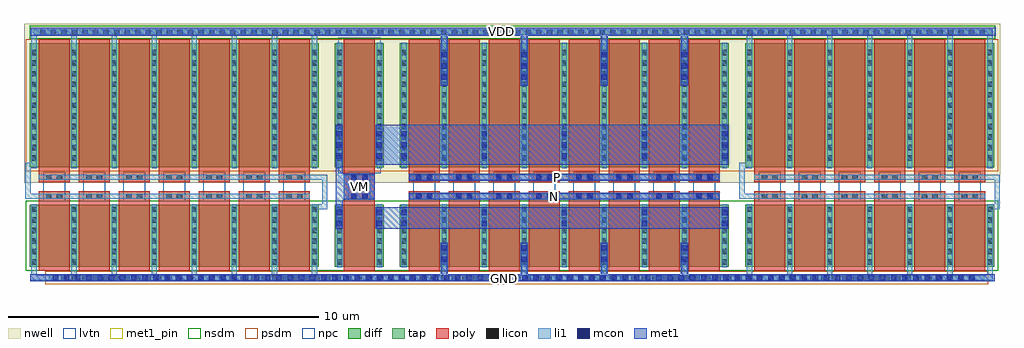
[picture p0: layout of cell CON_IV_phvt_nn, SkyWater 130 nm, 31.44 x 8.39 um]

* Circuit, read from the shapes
.subckt CON_IV_phvt_nn GND N P VDD VM
XM1 GND VDD GND GND sky130_fd_pr__nfet_01v8 w=2 l=1 m=13
XM2 sky130_fd_pr__nfet_01v8_LBGXA3_5/D0 VM VM GND sky130_fd_pr__nfet_01v8 w=2 l=1
XM3 GND N sky130_fd_pr__nfet_01v8_LBGXA3_5/D0 GND sky130_fd_pr__nfet_01v8 w=2 l=1 m=8
XM4 VDD GND VDD VDD sky130_fd_pr__pfet_01v8 w=4 l=1 m=13
XM5 sky130_fd_pr__pfet_01v8_BWHXLN_6/D0 VM VM VDD sky130_fd_pr__pfet_01v8_lvt w=4 l=1
XM6 VDD P sky130_fd_pr__pfet_01v8_BWHXLN_6/D0 VDD sky130_fd_pr__pfet_01v8 w=4 l=1 m=8
.ends

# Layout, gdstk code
import gdstk
lib = gdstk.Library(unit=1e-6, precision=1e-09)
def R(c, l, rs):  # rectangles x0, y0, x1, y1
    for r in rs: c.add(gdstk.rectangle(r[:2], r[2:], *l))
def A(c, l, x, y, w, h, nx, ny, dx, dy):  # array of equal rectangles
    R(c, l, [(x+i*dx, y+j*dy, x+i*dx+w, y+j*dy+h) for i in range(nx) for j in range(ny)])
nwell = (64, 20)
diff = (65, 20)
tap = (65, 44)
poly = (66, 20)
licon = (66, 44)
li1 = (67, 20)
mcon = (67, 44)
met1_pin = (68, 16)
met1 = (68, 20)
nsdm = (93, 44)
psdm = (94, 20)
npc = (95, 20)
lvtn = (125, 44)

sky130_fd_pr__nfet_01v8_ = lib.new_cell('sky130_fd_pr__nfet_01v8_JF9FY3')
R(sky130_fd_pr__nfet_01v8_, diff, [(-4.015,-1.155,4.015,0.845)])
A(sky130_fd_pr__nfet_01v8_, poly, -3.725, -1.285, 1, 2.57, 6, 1, 1.29, 0)
A(sky130_fd_pr__nfet_01v8_, licon, -3.955, -1.09, 0.17, 0.17, 7, 6, 1.29, 0.34)
R(sky130_fd_pr__nfet_01v8_, licon, [(-3.48,1.035,-3.31,1.205), (-3.14,1.035,-2.97,1.205), (-2.19,1.035,-2.02,1.205), (-1.85,1.035,-1.68,1.205), (-0.9,1.035,-0.73,1.205), (-0.56,1.035,-0.39,1.205), (0.39,1.035,0.56,1.205), (0.73,1.035,0.9,1.205), (1.68,1.035,1.85,1.205), (2.02,1.035,2.19,1.205), (2.97,1.035,3.14,1.205), (3.31,1.035,3.48,1.205)])
A(sky130_fd_pr__nfet_01v8_, li1, -3.955, -1.175, 0.17, 2.04, 7, 1, 1.29, 0)
A(sky130_fd_pr__nfet_01v8_, li1, -3.725, 1.035, 1, 0.17, 6, 1, 1.29, 0)
R(sky130_fd_pr__nfet_01v8_, nsdm, [(-4.14,-1.28,4.14,0.97)])
A(sky130_fd_pr__nfet_01v8_, npc, -3.58, 0.935, 0.71, 0.37, 6, 1, 1.29, 0)
sky130_fd_pr__nfet_01v8_.add(gdstk.Label('D0', (-3.87,-0.155), layer=67, texttype=5))
sky130_fd_pr__nfet_01v8_.add(gdstk.Label('G0', (-3.225,1.12), layer=67, texttype=5))
sky130_fd_pr__nfet_01v8_.add(gdstk.Label('S1', (-2.58,-0.155), layer=67, texttype=5))
sky130_fd_pr__nfet_01v8_.add(gdstk.Label('G1', (-1.935,1.12), layer=67, texttype=5))
sky130_fd_pr__nfet_01v8_.add(gdstk.Label('D2', (-1.29,-0.155), layer=67, texttype=5))
sky130_fd_pr__nfet_01v8_.add(gdstk.Label('G2', (-0.645,1.12), layer=67, texttype=5))
sky130_fd_pr__nfet_01v8_.add(gdstk.Label('S3', (0,-0.155), layer=67, texttype=5))
sky130_fd_pr__nfet_01v8_.add(gdstk.Label('G3', (0.645,1.12), layer=67, texttype=5))
sky130_fd_pr__nfet_01v8_.add(gdstk.Label('D4', (1.29,-0.155), layer=67, texttype=5))
sky130_fd_pr__nfet_01v8_.add(gdstk.Label('G4', (1.935,1.12), layer=67, texttype=5))
sky130_fd_pr__nfet_01v8_.add(gdstk.Label('S5', (2.58,-0.155), layer=67, texttype=5))
sky130_fd_pr__nfet_01v8_.add(gdstk.Label('G5', (3.225,1.12), layer=67, texttype=5))

sky130_fd_pr__pfet_01v8_ = lib.new_cell('sky130_fd_pr__pfet_01v8_UJ3J55')
R(sky130_fd_pr__pfet_01v8_, nwell, [(-4.84,-2.32,4.84,2.49)])
R(sky130_fd_pr__pfet_01v8_, diff, [(-4.66,-1.82,4.66,2.18)])
A(sky130_fd_pr__pfet_01v8_, poly, -4.37, -2.305, 1, 4.615, 7, 1, 1.29, 0)
A(sky130_fd_pr__pfet_01v8_, licon, -4.6, -1.605, 0.17, 0.17, 8, 11, 1.29, 0.34)
R(sky130_fd_pr__pfet_01v8_, licon, [(-4.125,-2.225,-3.955,-2.055), (-3.785,-2.225,-3.615,-2.055), (-2.835,-2.225,-2.665,-2.055), (-2.495,-2.225,-2.325,-2.055), (-1.545,-2.225,-1.375,-2.055), (-1.205,-2.225,-1.035,-2.055), (-0.255,-2.225,-0.085,-2.055), (0.085,-2.225,0.255,-2.055), (1.035,-2.225,1.205,-2.055), (1.375,-2.225,1.545,-2.055), (2.325,-2.225,2.495,-2.055), (2.665,-2.225,2.835,-2.055), (3.615,-2.225,3.785,-2.055), (3.955,-2.225,4.125,-2.055)])
A(sky130_fd_pr__pfet_01v8_, li1, -4.37, -2.225, 1, 0.17, 7, 1, 1.29, 0)
A(sky130_fd_pr__pfet_01v8_, li1, -4.6, -1.84, 0.17, 4.04, 8, 1, 1.29, 0)
R(sky130_fd_pr__pfet_01v8_, psdm, [(-4.785,-1.945,4.785,2.305)])
A(sky130_fd_pr__pfet_01v8_, npc, -4.225, -2.325, 0.71, 0.37, 7, 1, 1.29, 0)
sky130_fd_pr__pfet_01v8_.add(gdstk.Label('D0', (-4.515,0.18), layer=67, texttype=5))
sky130_fd_pr__pfet_01v8_.add(gdstk.Label('G0', (-3.87,-2.14), layer=67, texttype=5))
sky130_fd_pr__pfet_01v8_.add(gdstk.Label('S1', (-3.225,0.18), layer=67, texttype=5))
sky130_fd_pr__pfet_01v8_.add(gdstk.Label('G1', (-2.58,-2.14), layer=67, texttype=5))
sky130_fd_pr__pfet_01v8_.add(gdstk.Label('D2', (-1.935,0.18), layer=67, texttype=5))
sky130_fd_pr__pfet_01v8_.add(gdstk.Label('G2', (-1.29,-2.14), layer=67, texttype=5))
sky130_fd_pr__pfet_01v8_.add(gdstk.Label('S3', (-0.645,0.18), layer=67, texttype=5))
sky130_fd_pr__pfet_01v8_.add(gdstk.Label('G3', (0,-2.14), layer=67, texttype=5))
sky130_fd_pr__pfet_01v8_.add(gdstk.Label('D4', (0.645,0.18), layer=67, texttype=5))
sky130_fd_pr__pfet_01v8_.add(gdstk.Label('G4', (1.29,-2.14), layer=67, texttype=5))
sky130_fd_pr__pfet_01v8_.add(gdstk.Label('S5', (1.935,0.18), layer=67, texttype=5))
sky130_fd_pr__pfet_01v8_.add(gdstk.Label('G5', (2.58,-2.14), layer=67, texttype=5))
sky130_fd_pr__pfet_01v8_.add(gdstk.Label('D6', (3.225,0.18), layer=67, texttype=5))
sky130_fd_pr__pfet_01v8_.add(gdstk.Label('S6', (4.515,0.18), layer=67, texttype=5))
sky130_fd_pr__pfet_01v8_.add(gdstk.Label('G6', (3.87,-2.14), layer=67, texttype=5))

c_sky130_fd_pr__nfet_01v8_ = lib.new_cell('sky130_fd_pr__nfet_01v8_2Y43Z3')
R(c_sky130_fd_pr__nfet_01v8_, diff, [(-4.66,-1.155,4.66,0.845)])
A(c_sky130_fd_pr__nfet_01v8_, poly, -4.37, -1.285, 1, 2.57, 7, 1, 1.29, 0)
A(c_sky130_fd_pr__nfet_01v8_, licon, -4.6, -1.09, 0.17, 0.17, 8, 6, 1.29, 0.34)
R(c_sky130_fd_pr__nfet_01v8_, licon, [(-4.125,1.035,-3.955,1.205), (-3.785,1.035,-3.615,1.205), (-2.835,1.035,-2.665,1.205), (-2.495,1.035,-2.325,1.205), (-1.545,1.035,-1.375,1.205), (-1.205,1.035,-1.035,1.205), (-0.255,1.035,-0.085,1.205), (0.085,1.035,0.255,1.205), (1.035,1.035,1.205,1.205), (1.375,1.035,1.545,1.205), (2.325,1.035,2.495,1.205), (2.665,1.035,2.835,1.205), (3.615,1.035,3.785,1.205), (3.955,1.035,4.125,1.205)])
A(c_sky130_fd_pr__nfet_01v8_, li1, -4.6, -1.175, 0.17, 2.04, 8, 1, 1.29, 0)
A(c_sky130_fd_pr__nfet_01v8_, li1, -4.37, 1.035, 1, 0.17, 7, 1, 1.29, 0)
R(c_sky130_fd_pr__nfet_01v8_, nsdm, [(-4.785,-1.28,4.785,0.97)])
A(c_sky130_fd_pr__nfet_01v8_, npc, -4.225, 0.935, 0.71, 0.37, 7, 1, 1.29, 0)
c_sky130_fd_pr__nfet_01v8_.add(gdstk.Label('D0', (-4.515,-0.155), layer=67, texttype=5))
c_sky130_fd_pr__nfet_01v8_.add(gdstk.Label('G0', (-3.87,1.12), layer=67, texttype=5))
c_sky130_fd_pr__nfet_01v8_.add(gdstk.Label('S1', (-3.225,-0.155), layer=67, texttype=5))
c_sky130_fd_pr__nfet_01v8_.add(gdstk.Label('G1', (-2.58,1.12), layer=67, texttype=5))
c_sky130_fd_pr__nfet_01v8_.add(gdstk.Label('D2', (-1.935,-0.155), layer=67, texttype=5))
c_sky130_fd_pr__nfet_01v8_.add(gdstk.Label('G2', (-1.29,1.12), layer=67, texttype=5))
c_sky130_fd_pr__nfet_01v8_.add(gdstk.Label('S3', (-0.645,-0.155), layer=67, texttype=5))
c_sky130_fd_pr__nfet_01v8_.add(gdstk.Label('G3', (0,1.12), layer=67, texttype=5))
c_sky130_fd_pr__nfet_01v8_.add(gdstk.Label('D4', (0.645,-0.155), layer=67, texttype=5))
c_sky130_fd_pr__nfet_01v8_.add(gdstk.Label('G4', (1.29,1.12), layer=67, texttype=5))
c_sky130_fd_pr__nfet_01v8_.add(gdstk.Label('S5', (1.935,-0.155), layer=67, texttype=5))
c_sky130_fd_pr__nfet_01v8_.add(gdstk.Label('G5', (2.58,1.12), layer=67, texttype=5))
c_sky130_fd_pr__nfet_01v8_.add(gdstk.Label('D6', (3.225,-0.155), layer=67, texttype=5))
c_sky130_fd_pr__nfet_01v8_.add(gdstk.Label('S6', (4.515,-0.155), layer=67, texttype=5))
c_sky130_fd_pr__nfet_01v8_.add(gdstk.Label('G6', (3.87,1.12), layer=67, texttype=5))

c_sky130_fd_pr__nfet_01v8__ = lib.new_cell('sky130_fd_pr__nfet_01v8_QEE5BQ')
R(c_sky130_fd_pr__nfet_01v8__, diff, [(-0.79,-1.155,0.79,0.845)])
R(c_sky130_fd_pr__nfet_01v8__, poly, [(-0.5,-1.285,0.5,1.285)])
A(c_sky130_fd_pr__nfet_01v8__, licon, -0.73, -1.09, 0.17, 0.17, 1, 6, 0, 0.34)
A(c_sky130_fd_pr__nfet_01v8__, licon, 0.56, -1.09, 0.17, 0.17, 1, 6, 0, 0.34)
R(c_sky130_fd_pr__nfet_01v8__, licon, [(-0.255,1.035,-0.085,1.205), (0.085,1.035,0.255,1.205)])
R(c_sky130_fd_pr__nfet_01v8__, li1, [(-0.73,-1.175,-0.56,0.865), (0.56,-1.175,0.73,0.865), (-0.5,1.035,0.5,1.205)])
R(c_sky130_fd_pr__nfet_01v8__, mcon, [(-0.73,0.15,-0.56,0.32), (0.56,0.15,0.73,0.32), (-0.73,0.51,-0.56,0.68), (0.56,0.51,0.73,0.68), (-0.265,1.035,-0.095,1.205), (0.095,1.035,0.265,1.205)])
R(c_sky130_fd_pr__nfet_01v8__, met1, [(-0.76,0.075,-0.53,0.76), (0.53,0.075,0.76,0.76), (-0.48,1.005,0.48,1.235)])
R(c_sky130_fd_pr__nfet_01v8__, nsdm, [(-0.915,-1.28,0.915,0.97)])
R(c_sky130_fd_pr__nfet_01v8__, npc, [(-0.355,0.935,0.355,1.305)])
c_sky130_fd_pr__nfet_01v8__.add(gdstk.Label('D', (-0.645,-0.155), layer=67, texttype=5))
c_sky130_fd_pr__nfet_01v8__.add(gdstk.Label('S', (0.645,-0.155), layer=67, texttype=5))
c_sky130_fd_pr__nfet_01v8__.add(gdstk.Label('G', (0,1.12), layer=67, texttype=5))

c_sky130_fd_pr__pfet_01v8_ = lib.new_cell('sky130_fd_pr__pfet_01v8_lvt_3D68M4')
R(c_sky130_fd_pr__pfet_01v8_, nwell, [(-0.97,-2.32,0.97,2.49)])
R(c_sky130_fd_pr__pfet_01v8_, diff, [(-0.79,-1.82,0.79,2.18)])
R(c_sky130_fd_pr__pfet_01v8_, poly, [(-0.5,-2.305,0.5,2.31)])
A(c_sky130_fd_pr__pfet_01v8_, licon, -0.73, -1.605, 0.17, 0.17, 1, 11, 0, 0.34)
A(c_sky130_fd_pr__pfet_01v8_, licon, 0.56, -1.605, 0.17, 0.17, 1, 11, 0, 0.34)
R(c_sky130_fd_pr__pfet_01v8_, licon, [(-0.255,-2.225,-0.085,-2.055), (0.085,-2.225,0.255,-2.055)])
R(c_sky130_fd_pr__pfet_01v8_, li1, [(-0.5,-2.225,0.5,-2.055), (-0.73,-1.84,-0.56,2.2), (0.56,-1.84,0.73,2.2)])
A(c_sky130_fd_pr__pfet_01v8_, mcon, -0.73, -1.54, 0.17, 0.17, 1, 3, 0, 0.36)
A(c_sky130_fd_pr__pfet_01v8_, mcon, 0.56, -1.54, 0.17, 0.17, 1, 3, 0, 0.36)
R(c_sky130_fd_pr__pfet_01v8_, mcon, [(-0.265,-2.225,-0.095,-2.055), (0.095,-2.225,0.265,-2.055)])
R(c_sky130_fd_pr__pfet_01v8_, met1, [(-0.48,-2.255,0.48,-2.025), (-0.76,-1.735,-0.53,-0.45), (0.53,-1.735,0.76,-0.45)])
R(c_sky130_fd_pr__pfet_01v8_, psdm, [(-0.915,-1.945,0.915,2.305)])
R(c_sky130_fd_pr__pfet_01v8_, npc, [(-0.355,-2.325,0.355,-1.955)])
R(c_sky130_fd_pr__pfet_01v8_, lvtn, [(-0.68,-2,0.68,2.36)])
c_sky130_fd_pr__pfet_01v8_.add(gdstk.Label('D', (-0.645,0.18), layer=67, texttype=5))
c_sky130_fd_pr__pfet_01v8_.add(gdstk.Label('S', (0.645,0.18), layer=67, texttype=5))
c_sky130_fd_pr__pfet_01v8_.add(gdstk.Label('G', (0,-2.14), layer=67, texttype=5))

c_sky130_fd_pr__nfet_01v8___ = lib.new_cell('sky130_fd_pr__nfet_01v8_LBGXA3')
R(c_sky130_fd_pr__nfet_01v8___, diff, [(-5.305,-1.155,5.305,0.845)])
A(c_sky130_fd_pr__nfet_01v8___, poly, -5.015, -1.285, 1, 2.57, 8, 1, 1.29, 0)
A(c_sky130_fd_pr__nfet_01v8___, licon, -5.245, -1.09, 0.17, 0.17, 9, 6, 1.29, 0.34)
R(c_sky130_fd_pr__nfet_01v8___, licon, [(-4.77,1.035,-4.6,1.205), (-4.43,1.035,-4.26,1.205), (-3.48,1.035,-3.31,1.205), (-3.14,1.035,-2.97,1.205), (-2.19,1.035,-2.02,1.205), (-1.85,1.035,-1.68,1.205), (-0.9,1.035,-0.73,1.205), (-0.56,1.035,-0.39,1.205), (0.39,1.035,0.56,1.205), (0.73,1.035,0.9,1.205), (1.68,1.035,1.85,1.205), (2.02,1.035,2.19,1.205), (2.97,1.035,3.14,1.205), (3.31,1.035,3.48,1.205), (4.26,1.035,4.43,1.205), (4.6,1.035,4.77,1.205)])
A(c_sky130_fd_pr__nfet_01v8___, li1, -5.245, -1.175, 0.17, 2.04, 9, 1, 1.29, 0)
A(c_sky130_fd_pr__nfet_01v8___, li1, -5.015, 1.035, 1, 0.17, 8, 1, 1.29, 0)
A(c_sky130_fd_pr__nfet_01v8___, mcon, -3.955, -0.995, 0.17, 0.17, 4, 2, 2.58, 0.36)
A(c_sky130_fd_pr__nfet_01v8___, mcon, -5.245, 0.15, 0.17, 0.17, 5, 2, 2.58, 0.36)
R(c_sky130_fd_pr__nfet_01v8___, mcon, [(-4.78,1.035,-4.61,1.205), (-4.42,1.035,-4.25,1.205), (-3.49,1.035,-3.32,1.205), (-3.13,1.035,-2.96,1.205), (-2.2,1.035,-2.03,1.205), (-1.84,1.035,-1.67,1.205), (-0.91,1.035,-0.74,1.205), (-0.55,1.035,-0.38,1.205), (0.38,1.035,0.55,1.205), (0.74,1.035,0.91,1.205), (1.67,1.035,1.84,1.205), (2.03,1.035,2.2,1.205), (2.96,1.035,3.13,1.205), (3.32,1.035,3.49,1.205), (4.25,1.035,4.42,1.205), (4.61,1.035,4.78,1.205)])
A(c_sky130_fd_pr__nfet_01v8___, met1, -3.985, -1.07, 0.23, 0.685, 4, 1, 2.58, 0)
A(c_sky130_fd_pr__nfet_01v8___, met1, -5.275, 0.075, 0.23, 0.685, 5, 1, 2.58, 0)
A(c_sky130_fd_pr__nfet_01v8___, met1, -4.995, 1.005, 0.96, 0.23, 8, 1, 1.29, 0)
R(c_sky130_fd_pr__nfet_01v8___, nsdm, [(-5.43,-1.28,5.43,0.97)])
A(c_sky130_fd_pr__nfet_01v8___, npc, -4.87, 0.935, 0.71, 0.37, 8, 1, 1.29, 0)
c_sky130_fd_pr__nfet_01v8___.add(gdstk.Label('D0', (-5.16,-0.155), layer=67, texttype=5))
c_sky130_fd_pr__nfet_01v8___.add(gdstk.Label('G0', (-4.515,1.12), layer=67, texttype=5))
c_sky130_fd_pr__nfet_01v8___.add(gdstk.Label('S1', (-3.87,-0.155), layer=67, texttype=5))
c_sky130_fd_pr__nfet_01v8___.add(gdstk.Label('G1', (-3.225,1.12), layer=67, texttype=5))
c_sky130_fd_pr__nfet_01v8___.add(gdstk.Label('D2', (-2.58,-0.155), layer=67, texttype=5))
c_sky130_fd_pr__nfet_01v8___.add(gdstk.Label('G2', (-1.935,1.12), layer=67, texttype=5))
c_sky130_fd_pr__nfet_01v8___.add(gdstk.Label('S3', (-1.29,-0.155), layer=67, texttype=5))
c_sky130_fd_pr__nfet_01v8___.add(gdstk.Label('G3', (-0.645,1.12), layer=67, texttype=5))
c_sky130_fd_pr__nfet_01v8___.add(gdstk.Label('D4', (0,-0.155), layer=67, texttype=5))
c_sky130_fd_pr__nfet_01v8___.add(gdstk.Label('G4', (0.645,1.12), layer=67, texttype=5))
c_sky130_fd_pr__nfet_01v8___.add(gdstk.Label('S5', (1.29,-0.155), layer=67, texttype=5))
c_sky130_fd_pr__nfet_01v8___.add(gdstk.Label('G5', (1.935,1.12), layer=67, texttype=5))
c_sky130_fd_pr__nfet_01v8___.add(gdstk.Label('D6', (2.58,-0.155), layer=67, texttype=5))
c_sky130_fd_pr__nfet_01v8___.add(gdstk.Label('G6', (3.225,1.12), layer=67, texttype=5))
c_sky130_fd_pr__nfet_01v8___.add(gdstk.Label('S7', (3.87,-0.155), layer=67, texttype=5))
c_sky130_fd_pr__nfet_01v8___.add(gdstk.Label('G7', (4.515,1.12), layer=67, texttype=5))

c_sky130_fd_pr__pfet_01v8__ = lib.new_cell('sky130_fd_pr__pfet_01v8_BWHXLN')
R(c_sky130_fd_pr__pfet_01v8__, nwell, [(-5.485,-2.32,5.485,2.49)])
R(c_sky130_fd_pr__pfet_01v8__, diff, [(-5.305,-1.82,5.305,2.18)])
A(c_sky130_fd_pr__pfet_01v8__, poly, -5.015, -2.305, 1, 4.615, 8, 1, 1.29, 0)
A(c_sky130_fd_pr__pfet_01v8__, licon, -5.245, -1.605, 0.17, 0.17, 9, 11, 1.29, 0.34)
R(c_sky130_fd_pr__pfet_01v8__, licon, [(-4.77,-2.225,-4.6,-2.055), (-4.43,-2.225,-4.26,-2.055), (-3.48,-2.225,-3.31,-2.055), (-3.14,-2.225,-2.97,-2.055), (-2.19,-2.225,-2.02,-2.055), (-1.85,-2.225,-1.68,-2.055), (-0.9,-2.225,-0.73,-2.055), (-0.56,-2.225,-0.39,-2.055), (0.39,-2.225,0.56,-2.055), (0.73,-2.225,0.9,-2.055), (1.68,-2.225,1.85,-2.055), (2.02,-2.225,2.19,-2.055), (2.97,-2.225,3.14,-2.055), (3.31,-2.225,3.48,-2.055), (4.26,-2.225,4.43,-2.055), (4.6,-2.225,4.77,-2.055)])
A(c_sky130_fd_pr__pfet_01v8__, li1, -5.015, -2.225, 1, 0.17, 8, 1, 1.29, 0)
A(c_sky130_fd_pr__pfet_01v8__, li1, -5.245, -1.84, 0.17, 4.04, 9, 1, 1.29, 0)
A(c_sky130_fd_pr__pfet_01v8__, mcon, -5.245, -1.54, 0.17, 0.17, 5, 3, 2.58, 0.36)
A(c_sky130_fd_pr__pfet_01v8__, mcon, -3.955, 1.005, 0.17, 0.17, 4, 3, 2.58, 0.36)
R(c_sky130_fd_pr__pfet_01v8__, mcon, [(-4.78,-2.225,-4.61,-2.055), (-4.42,-2.225,-4.25,-2.055), (-3.49,-2.225,-3.32,-2.055), (-3.13,-2.225,-2.96,-2.055), (-2.2,-2.225,-2.03,-2.055), (-1.84,-2.225,-1.67,-2.055), (-0.91,-2.225,-0.74,-2.055), (-0.55,-2.225,-0.38,-2.055), (0.38,-2.225,0.55,-2.055), (0.74,-2.225,0.91,-2.055), (1.67,-2.225,1.84,-2.055), (2.03,-2.225,2.2,-2.055), (2.96,-2.225,3.13,-2.055), (3.32,-2.225,3.49,-2.055), (4.25,-2.225,4.42,-2.055), (4.61,-2.225,4.78,-2.055)])
A(c_sky130_fd_pr__pfet_01v8__, met1, -4.995, -2.255, 0.96, 0.23, 8, 1, 1.29, 0)
A(c_sky130_fd_pr__pfet_01v8__, met1, -5.275, -1.735, 0.23, 1.285, 5, 1, 2.58, 0)
A(c_sky130_fd_pr__pfet_01v8__, met1, -3.985, 0.81, 0.23, 1.285, 4, 1, 2.58, 0)
R(c_sky130_fd_pr__pfet_01v8__, psdm, [(-5.43,-1.945,5.43,2.305)])
A(c_sky130_fd_pr__pfet_01v8__, npc, -4.87, -2.325, 0.71, 0.37, 8, 1, 1.29, 0)
c_sky130_fd_pr__pfet_01v8__.add(gdstk.Label('D0', (-5.16,0.18), layer=67, texttype=5))
c_sky130_fd_pr__pfet_01v8__.add(gdstk.Label('G0', (-4.515,-2.14), layer=67, texttype=5))
c_sky130_fd_pr__pfet_01v8__.add(gdstk.Label('S1', (-3.87,0.18), layer=67, texttype=5))
c_sky130_fd_pr__pfet_01v8__.add(gdstk.Label('G1', (-3.225,-2.14), layer=67, texttype=5))
c_sky130_fd_pr__pfet_01v8__.add(gdstk.Label('D2', (-2.58,0.18), layer=67, texttype=5))
c_sky130_fd_pr__pfet_01v8__.add(gdstk.Label('G2', (-1.935,-2.14), layer=67, texttype=5))
c_sky130_fd_pr__pfet_01v8__.add(gdstk.Label('S3', (-1.29,0.18), layer=67, texttype=5))
c_sky130_fd_pr__pfet_01v8__.add(gdstk.Label('G3', (-0.645,-2.14), layer=67, texttype=5))
c_sky130_fd_pr__pfet_01v8__.add(gdstk.Label('D4', (0,0.18), layer=67, texttype=5))
c_sky130_fd_pr__pfet_01v8__.add(gdstk.Label('G4', (0.645,-2.14), layer=67, texttype=5))
c_sky130_fd_pr__pfet_01v8__.add(gdstk.Label('S5', (1.29,0.18), layer=67, texttype=5))
c_sky130_fd_pr__pfet_01v8__.add(gdstk.Label('G5', (1.935,-2.14), layer=67, texttype=5))
c_sky130_fd_pr__pfet_01v8__.add(gdstk.Label('D6', (2.58,0.18), layer=67, texttype=5))
c_sky130_fd_pr__pfet_01v8__.add(gdstk.Label('G6', (3.225,-2.14), layer=67, texttype=5))
c_sky130_fd_pr__pfet_01v8__.add(gdstk.Label('S7', (3.87,0.18), layer=67, texttype=5))
c_sky130_fd_pr__pfet_01v8__.add(gdstk.Label('G7', (4.515,-2.14), layer=67, texttype=5))

c_sky130_fd_pr__pfet_01v8___ = lib.new_cell('sky130_fd_pr__pfet_01v8_TZ8JJT')
R(c_sky130_fd_pr__pfet_01v8___, nwell, [(-4.195,-2.32,4.195,2.49)])
R(c_sky130_fd_pr__pfet_01v8___, diff, [(-4.015,-1.82,4.015,2.18)])
A(c_sky130_fd_pr__pfet_01v8___, poly, -3.725, -2.305, 1, 4.615, 6, 1, 1.29, 0)
A(c_sky130_fd_pr__pfet_01v8___, licon, -3.955, -1.605, 0.17, 0.17, 7, 11, 1.29, 0.34)
R(c_sky130_fd_pr__pfet_01v8___, licon, [(-3.48,-2.225,-3.31,-2.055), (-3.14,-2.225,-2.97,-2.055), (-2.19,-2.225,-2.02,-2.055), (-1.85,-2.225,-1.68,-2.055), (-0.9,-2.225,-0.73,-2.055), (-0.56,-2.225,-0.39,-2.055), (0.39,-2.225,0.56,-2.055), (0.73,-2.225,0.9,-2.055), (1.68,-2.225,1.85,-2.055), (2.02,-2.225,2.19,-2.055), (2.97,-2.225,3.14,-2.055), (3.31,-2.225,3.48,-2.055)])
A(c_sky130_fd_pr__pfet_01v8___, li1, -3.725, -2.225, 1, 0.17, 6, 1, 1.29, 0)
A(c_sky130_fd_pr__pfet_01v8___, li1, -3.955, -1.84, 0.17, 4.04, 7, 1, 1.29, 0)
R(c_sky130_fd_pr__pfet_01v8___, psdm, [(-4.14,-1.945,4.14,2.305)])
A(c_sky130_fd_pr__pfet_01v8___, npc, -3.58, -2.325, 0.71, 0.37, 6, 1, 1.29, 0)
c_sky130_fd_pr__pfet_01v8___.add(gdstk.Label('D0', (-3.87,0.18), layer=67, texttype=5))
c_sky130_fd_pr__pfet_01v8___.add(gdstk.Label('G0', (-3.225,-2.14), layer=67, texttype=5))
c_sky130_fd_pr__pfet_01v8___.add(gdstk.Label('S1', (-2.58,0.18), layer=67, texttype=5))
c_sky130_fd_pr__pfet_01v8___.add(gdstk.Label('G1', (-1.935,-2.14), layer=67, texttype=5))
c_sky130_fd_pr__pfet_01v8___.add(gdstk.Label('D2', (-1.29,0.18), layer=67, texttype=5))
c_sky130_fd_pr__pfet_01v8___.add(gdstk.Label('G2', (-0.645,-2.14), layer=67, texttype=5))
c_sky130_fd_pr__pfet_01v8___.add(gdstk.Label('S3', (0,0.18), layer=67, texttype=5))
c_sky130_fd_pr__pfet_01v8___.add(gdstk.Label('G3', (0.645,-2.14), layer=67, texttype=5))
c_sky130_fd_pr__pfet_01v8___.add(gdstk.Label('D4', (1.29,0.18), layer=67, texttype=5))
c_sky130_fd_pr__pfet_01v8___.add(gdstk.Label('G4', (1.935,-2.14), layer=67, texttype=5))
c_sky130_fd_pr__pfet_01v8___.add(gdstk.Label('S5', (2.58,0.18), layer=67, texttype=5))
c_sky130_fd_pr__pfet_01v8___.add(gdstk.Label('G5', (3.225,-2.14), layer=67, texttype=5))

con_iv_phvt_nn = lib.new_cell('CON_IV_phvt_nn')
R(con_iv_phvt_nn, nwell, [(24.64,9.23,56.08,14.36)])
R(con_iv_phvt_nn, tap, [(25.445,6.09,55.575,6.26), (24.955,14.005,55.81,14.175)])
R(con_iv_phvt_nn, poly, [(34.945,8.72,35.945,9.495), (34.965,9.495,35.925,9.505)])
A(con_iv_phvt_nn, licon, 25.835, 6.09, 0.17, 0.17, 87, 1, 0.34, 0)
A(con_iv_phvt_nn, licon, 25.16, 14.005, 0.17, 0.17, 90, 1, 0.34, 0)
A(con_iv_phvt_nn, li1, 24.88, 6.26, 0.17, 0.27, 3, 1, 3.87, 0)
R(con_iv_phvt_nn, li1, [(24.835,6.09,55.845,6.26), (26.17,6.26,26.34,6.545), (27.46,6.26,27.63,6.54), (30.04,6.26,30.21,6.545), (31.33,6.26,31.5,6.525), (33.91,6.26,34.08,6.53), (38.09,6.26,38.26,6.52), (40.67,6.26,40.84,6.52), (43.25,6.26,43.42,6.53), (45.83,6.26,46,6.54), (47.93,6.26,48.1,6.545), (49.22,6.26,49.39,6.53), (50.51,6.26,50.68,6.515), (51.8,6.26,51.97,6.535), (53.09,6.26,53.26,6.53), (54.38,6.26,54.55,6.535), (55.67,6.26,55.84,6.535), (33.91,8.38,34.41,8.55), (55.67,8.38,56.075,8.55), (34.24,8.55,34.41,9.325), (55.905,8.55,56.075,9.325), (24.685,8.72,33.195,8.89), (34.945,8.72,35.945,9.495), (37.95,8.72,46.785,8.89), (47.675,8.72,54.655,8.89), (24.685,8.89,24.855,9.71), (47.68,8.89,47.85,9.71), (26.03,9.325,34.41,9.495), (37.91,9.325,46.745,9.495), (49.12,9.325,56.075,9.495), (24.685,9.71,25.05,9.88), (47.68,9.71,48.1,9.88), (38.09,13.635,38.26,14.005), (47.93,13.655,48.1,14.005), (50.51,13.66,50.68,14.005), (49.22,13.665,49.39,14.005), (26.17,13.67,26.34,14.005), (27.46,13.67,27.63,14.005), (40.67,13.67,40.84,14.005), (28.75,13.685,28.92,14.005), (51.8,13.685,51.97,14.005), (24.88,13.69,25.05,14.005), (45.83,13.695,46,14.005), (54.38,13.7,54.55,14.005), (30.04,13.705,30.21,14.005), (32.62,13.705,32.79,14.005), (33.91,13.705,34.08,14.005), (43.25,13.705,43.42,14.005), (53.09,13.705,53.26,14.005), (31.33,13.71,31.5,14.005), (55.67,13.71,55.84,14.005), (24.84,14.005,55.845,14.175)])
A(con_iv_phvt_nn, mcon, 25.57, 6.09, 0.17, 0.17, 83, 1, 0.36, 0)
R(con_iv_phvt_nn, met1_pin, [(39.605,6.105,40.605,6.2), (41.235,8.75,42.235,8.81), (34.945,9.05,35.945,9.17), (41.34,9.35,42.34,9.445), (39.515,14.045,40.515,14.165)])
R(con_iv_phvt_nn, met1, [(24.835,6.06,55.905,6.29), (38.06,6.29,38.29,6.685), (40.64,6.29,40.87,6.72), (43.22,6.29,43.45,6.7), (45.8,6.29,46.03,6.725), (36.175,7.76,47.115,8.445), (34.685,8.345,34.915,8.69), (34.685,8.69,35.945,9.525), (37.975,8.69,46.985,8.92), (37.94,9.3,47.03,9.53), (34.685,9.525,34.915,9.86), (36.175,9.815,47.1,11.1), (40.64,13.57,40.87,13.965), (45.8,13.6,46.03,13.965), (38.06,13.615,38.29,13.965), (43.22,13.615,43.45,13.965), (24.85,13.965,55.94,14.225)])
R(con_iv_phvt_nn, nsdm, [(34.265,6.405,34.53,8.655), (36.36,6.405,36.615,8.655), (47.475,6.405,47.745,8.655), (24.83,13.88,55.935,14.3)])
R(con_iv_phvt_nn, psdm, [(25.32,5.965,55.7,6.385), (34.265,9.605,34.53,13.855), (36.36,9.605,36.615,13.855), (47.475,9.605,47.745,13.855)])
A(con_iv_phvt_nn, npc, 25.255, 8.99, 0.71, 0.235, 7, 1, 1.29, 0)
A(con_iv_phvt_nn, npc, 37.175, 8.99, 0.71, 0.235, 8, 1, 1.29, 0)
A(con_iv_phvt_nn, npc, 48.305, 8.99, 0.71, 0.235, 6, 1, 1.29, 0)
R(con_iv_phvt_nn, npc, [(35.09,8.99,35.8,9.225)])
con_iv_phvt_nn.add(gdstk.Reference(sky130_fd_pr__nfet_01v8_, (51.885,7.685)))
con_iv_phvt_nn.add(gdstk.Reference(sky130_fd_pr__pfet_01v8_, (29.48,11.55)))
con_iv_phvt_nn.add(gdstk.Reference(c_sky130_fd_pr__nfet_01v8_, (29.48,7.685)))
con_iv_phvt_nn.add(gdstk.Reference(c_sky130_fd_pr__nfet_01v8__, (35.445,7.685)))
con_iv_phvt_nn.add(gdstk.Reference(c_sky130_fd_pr__pfet_01v8_, (35.445,11.55)))
con_iv_phvt_nn.add(gdstk.Reference(c_sky130_fd_pr__nfet_01v8___, (42.045,7.685)))
con_iv_phvt_nn.add(gdstk.Reference(c_sky130_fd_pr__pfet_01v8__, (42.045,11.55)))
con_iv_phvt_nn.add(gdstk.Reference(c_sky130_fd_pr__pfet_01v8___, (51.885,11.55)))
con_iv_phvt_nn.add(gdstk.Label('VDD', (40.015,14.105), layer=68, texttype=5))
con_iv_phvt_nn.add(gdstk.Label('GND', (40.105,6.152), layer=68, texttype=5))
con_iv_phvt_nn.add(gdstk.Label('N', (41.735,8.78), layer=68, texttype=5))
con_iv_phvt_nn.add(gdstk.Label('P', (41.84,9.397), layer=68, texttype=5))
con_iv_phvt_nn.add(gdstk.Label('VM', (35.445,9.11), layer=68, texttype=5))

lib.write_gds('CON_IV_phvt_nn.gds')
